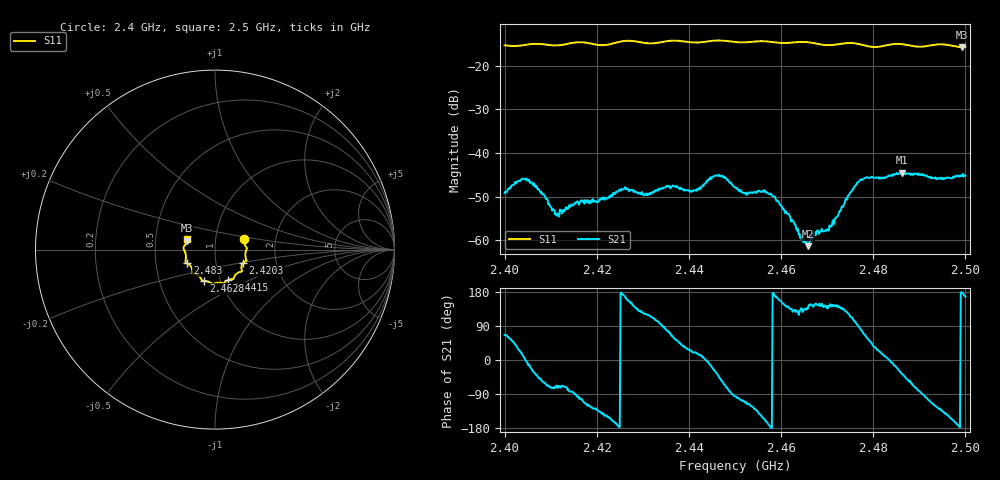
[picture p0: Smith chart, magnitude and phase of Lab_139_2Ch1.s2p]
# Hz S RI R 50
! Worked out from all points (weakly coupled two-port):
!   601 points, 2.4 GHz to 2.5 GHz, reference 50 ohm
!   highest |S21| = -44.47 dB at 2.4862 GHz (marker M1); lowest = -61.3 dB at 2.4658 GHz (marker M2)
!   lowest |S11| = -15.7 dB at 2.4993 GHz (marker M3), VSWR 1.39, Z = 36.4 + j3.69 ohm
!   |S11| at or under -10 dB: start of sweep to end of sweep
!   S12 and S22 are empty: the file has one direction only
!   S11 on the Smith chart (normalised r, x): 2.4 GHz: 1.38, +0.16; 2.4203 GHz: 1.35, -0.21; 2.4415 GHz: 1.09, -0.38; 2.4628 GHz: 0.83, -0.30; 2.483 GHz: 0.73, -0.11; 2.5 GHz: 0.73, +0.09
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2.4e9  0.1619 0.0565  0.00141 0.00318  0 0  0 0
2.404167e9  0.1714 0.018  0.00505 0.000677  0 0  0 0
2.406833e9  0.1779 0.00724  0.00313 -0.00256  0 0  0 0
2.411333e9  0.169 -0.0242  0.000743 -0.00178  0 0  0 0
2.416667e9  0.1754 -0.062  -0.000633 -0.00282  0 0  0 0
2.420333e9  0.1562 -0.0747  -0.00192 -0.00197  0 0  0 0
2.425833e9  0.1507 -0.1184  -0.00382 0.000617  0 0  0 0
2.433333e9  0.1086 -0.1481  -0.000683 0.00366  0 0  0 0
2.4415e9  0.0732 -0.1689  0.00354 0.00126  0 0  0 0
2.446e9  0.0489 -0.1881  0.00456 -0.00319  0 0  0 0
2.45e9  0.0299 -0.1846  -0.000398 -0.00403  0 0  0 0
2.458167e9  -0.025 -0.1852  -0.00322 0.000209  0 0  0 0
2.462833e9  -0.0625 -0.1743  -0.00105 0.0012  0 0  0 0
2.465833e9  -0.0734 -0.1708  -0.000621 0.000594  0 0  0 0
2.466667e9  -0.0752 -0.1673  -0.000931 0.000651  0 0  0 0
2.4705e9  -0.0968 -0.1419  -0.00116 0.000926  0 0  0 0
2.477e9  -0.1253 -0.1243  0.00038 0.00479  0 0  0 0
2.483e9  -0.1542 -0.0763  0.00532 0.000515  0 0  0 0
2.483333e9  -0.1564 -0.0751  0.00555 0.000123  0 0  0 0
2.486167e9  -0.1643 -0.0656  0.00485 -0.00349  0 0  0 0
2.499333e9  -0.1556 0.0493  -0.00556 0.00026  0 0  0 0
2.5e9  -0.1535 0.058  -0.0054 0.00126  0 0  0 0
